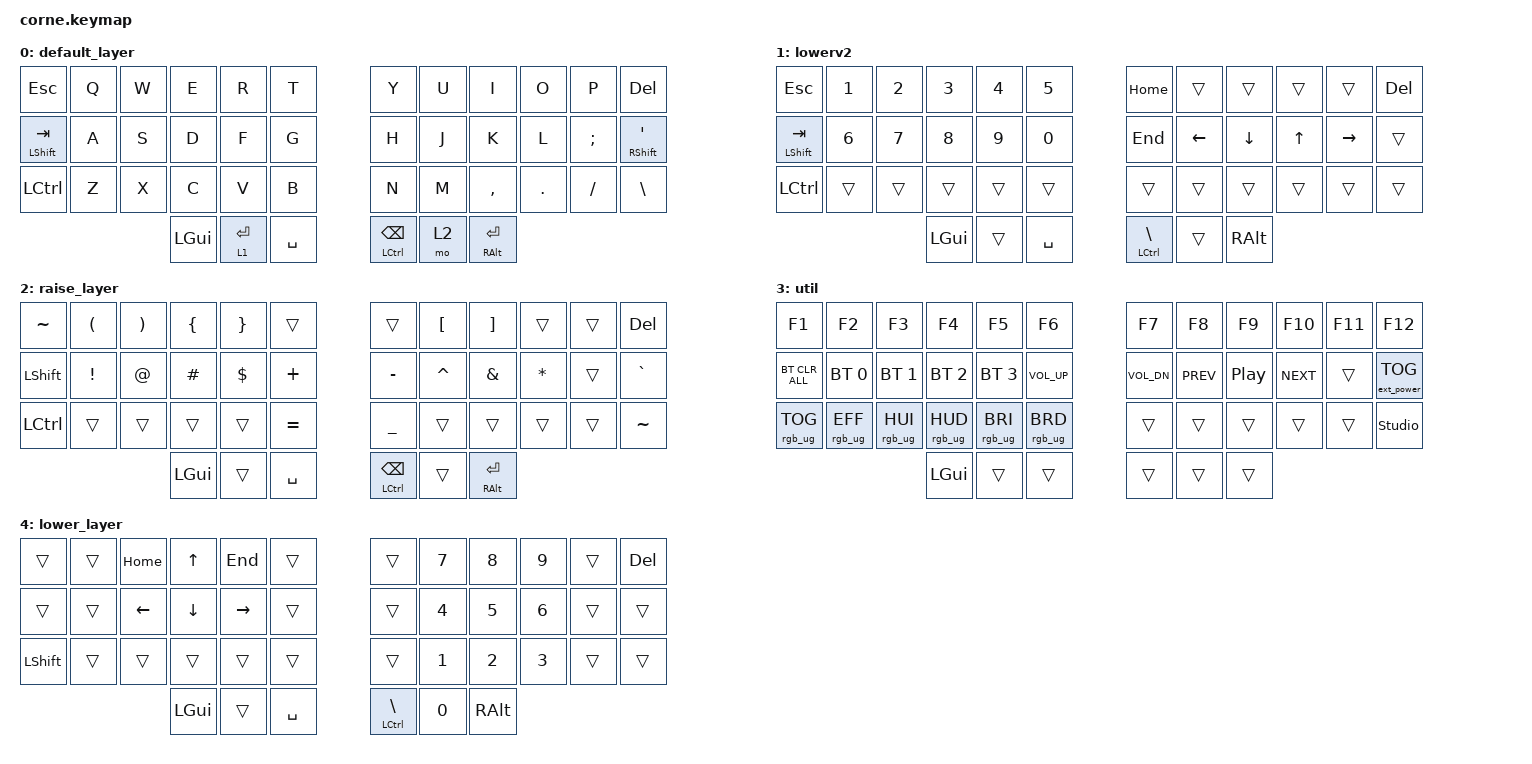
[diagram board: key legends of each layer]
/*
 * Copyright (c) 2020 The ZMK Contributors
 *
 * SPDX-License-Identifier: MIT
 */

#include <behaviors.dtsi>
#include <dt-bindings/zmk/bt.h>
#include <dt-bindings/zmk/ext_power.h>
#include <dt-bindings/zmk/keys.h>
#include <dt-bindings/zmk/rgb.h>

/ {
    conditional_layers {
        compatible = "zmk,conditional-layers";

        tri_layer {
            // Hold both thumbs (layer 1 + layer 2) to activate layer 3

            if-layers = <1 2>;
            then-layer = <3>;
        };
    };

    keymap {
        compatible = "zmk,keymap";

        default_layer {
            // -----------------------------------------------------------------------------------------
            // |  TAB |  Q  |  W  |  E  |  R  |  T  |   |  Y  |  U   |  I  |  O  |  P  | BSPC |
            // | CTRL |  A  |  S  |  D  |  F  |  G  |   |  H  |  J   |  K  |  L  |  ;  |  '   |
            // | SHFT |  Z  |  X  |  C  |  V  |  B  |   |  N  |  M   |  ,  |  .  |  /  | ESC  |
            //                    | GUI | LWR | SPC |   | ENT | RSE  | ALT |

            bindings = <
&kp ESCAPE          &kp Q  &kp W  &kp E     &kp R         &kp T        &kp Y                       &kp U  &kp I            &kp O    &kp P     &kp DEL
&mt LEFT_SHIFT TAB  &kp A  &kp S  &kp D     &kp F         &kp G        &kp H                       &kp J  &kp K            &kp L    &kp SEMI  &mt RIGHT_SHIFT SINGLE_QUOTE
&kp LEFT_CONTROL    &kp Z  &kp X  &kp C     &kp V         &kp B        &kp N                       &kp M  &kp COMMA        &kp DOT  &kp FSLH  &kp BACKSLASH
                                  &kp LGUI  &lt 1 RETURN  &kp SPACE    &mt LEFT_CONTROL BACKSPACE  &mo 2  &mt RALT RETURN
            >;
        };

        lowerv2 {
            bindings = <
&kp ESC             &kp NUMBER_1  &kp NUMBER_2  &kp NUMBER_3  &kp NUMBER_4  &kp N5       &kp HOME                    &trans    &trans    &trans        &trans     &kp DEL
&mt LEFT_SHIFT TAB  &kp NUMBER_6  &kp N7        &kp N8        &kp N9        &kp N0       &kp END                     &kp LEFT  &kp DOWN  &kp UP_ARROW  &kp RIGHT  &trans
&kp LEFT_CONTROL    &trans        &trans        &trans        &trans        &trans       &trans                      &trans    &trans    &trans        &trans     &trans
                                                &kp LGUI      &trans        &kp SPACE    &mt LEFT_CONTROL BACKSLASH  &trans    &kp RALT
            >;
        };

        raise_layer {
            // -----------------------------------------------------------------------------------------
            // |  TAB |  !  |  @  |  #  |  $  |  %  |   |  ^  |  &  |  *  |  (  |  )  | BSPC |
            // | CTRL |     |     |     |     |     |   |  -  |  =  |  [  |  ]  |  \  |  `   |
            // | SHFT |     |     |     |     |     |   |  _  |  +  |  {  |  }  | "|" |  ~   |
            //                    | GUI |     | SPC |   | ENT |     | ALT |

            bindings = <
&kp TILDE         &kp LEFT_PARENTHESIS  &kp RIGHT_PARENTHESIS  &kp LEFT_BRACE  &kp RIGHT_BRACE  &trans       &trans                      &kp LEFT_BRACKET  &kp RIGHT_BRACKET  &trans        &trans  &kp DEL
&kp LEFT_SHIFT    &kp EXCLAMATION       &kp AT_SIGN            &kp HASH        &kp DOLLAR       &kp PLUS     &kp MINUS                   &kp CARET         &kp AMPERSAND      &kp ASTERISK  &trans  &kp GRAVE
&kp LEFT_CONTROL  &trans                &trans                 &trans          &trans           &kp EQUAL    &kp UNDER                   &trans            &trans             &trans        &trans  &kp TILDE
                                                               &kp LGUI        &trans           &kp SPACE    &mt LEFT_CONTROL BACKSPACE  &trans            &mt RALT RET
            >;
        };

        util {
            // -----------------------------------------------------------------------------------------
            // |  F1  |  F2 |  F3 |  F4 |  F5 |  F6 |   |  F7  |  F8  |  F9  | F10 | F11 | F12 |
            // | CLR  | BT0 | BT1 | BT2 | BT3 | VOL+|   | VOL- | PREV | P/P  | NEXT|     |     |
            // | RGB  | EFF | HUI | HUD | BRI | BRD |   |      |      |      |     |     | UNLK|
            //                    | GUI |     |     |   |      |      |      |

            bindings = <
&kp F1           &kp F2           &kp F3           &kp F4           &kp F5           &kp F6             &kp F7        &kp F8      &kp F9    &kp F10     &kp F11  &kp F12
&bt BT_CLR_ALL   &bt BT_SEL 0     &bt BT_SEL 1     &bt BT_SEL 2     &bt BT_SEL 3     &kp C_VOL_UP       &kp C_VOL_DN  &kp C_PREV  &kp C_PP  &kp C_NEXT  &trans   &ext_power EP_TOG
&rgb_ug RGB_TOG  &rgb_ug RGB_EFF  &rgb_ug RGB_HUI  &rgb_ug RGB_HUD  &rgb_ug RGB_BRI  &rgb_ug RGB_BRD    &trans        &trans      &trans    &trans      &trans   &studio_unlock
                                                   &kp LEFT_GUI     &trans           &trans             &trans        &trans      &trans
            >;
        };

        lower_layer {
            // -----------------------------------------------------------------------------------------
            // |  TAB |  1  |  2  |  3  |  4  |  5  |   |  6  |  7  |  8  |  9  |  0  | BSPC |
            // | BTCLR| BT1 | BT2 | BT3 | BT4 | BT5 |   | LFT | DWN |  UP | RGT |     |      |
            // | SHFT |     |     |     |     |     |   |     |     |     |     |     |      |
            //                    | GUI |     | SPC |   | ENT |     | ALT |

            bindings = <
&trans     &trans  &kp HOME  &kp UP_ARROW  &kp END    &trans       &trans                      &kp N7        &kp N8        &kp N9        &trans  &kp DEL
&trans     &trans  &kp LEFT  &kp DOWN      &kp RIGHT  &trans       &trans                      &kp NUMBER_4  &kp N5        &kp NUMBER_6  &trans  &trans
&kp LSHFT  &trans  &trans    &trans        &trans     &trans       &trans                      &kp NUMBER_1  &kp NUMBER_2  &kp NUMBER_3  &trans  &trans
                             &kp LGUI      &trans     &kp SPACE    &mt LEFT_CONTROL BACKSLASH  &kp NUMBER_0  &kp RALT
            >;
        };
    };
};

&led_strip {
    // Set to your actual per-side LED count. 42-key Corne v3 = 27
    // (21 per-key + 6 underglow). Count the SK6812 chips on one half to confirm.

    chain-length = <27>;
};
